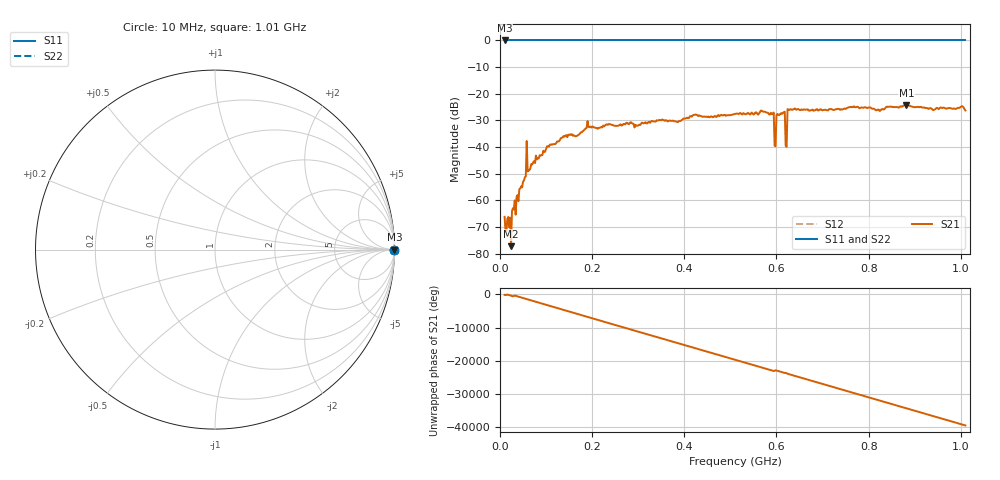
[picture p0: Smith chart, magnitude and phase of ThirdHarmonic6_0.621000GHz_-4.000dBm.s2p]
! 8/15/2025 8:24:46 PM
! C:\ANRITSUVNA\TEMP\TEMP.S2P
! CHANNEL.1
! TR.MEASUREMENT
! RAW.DATA
! RF.CORRECTION.OFF
! AVERAGING.OFF
! IF.BANDWIDTH: 5KHZ
! SWEEPTYPE:  FREQ.SWEEP(Linear)
! Reference Plane Port Info
! PORT:  PORT1  PORT2
! DISTANCE:  0  m  0  m
! TIME:  0  s  0  s
! PHASE.OFFSET:  0  deg.  0  deg.
! LOSS:  0  dB  0  dB
! REF.LOSS:  0  dB  0  dB
! REF.FREQ:  0  Hz  0  Hz
! Power Info
! POWER:  -20  dBm  -20  dBm
! EFF.POWER:  -20  dBm  -20  dBm
! SOURCE.ATTEN:  0  dB  0  dB
! TEST.ATTEN:  0  dB  0  dB
# GHZ S RI R 50.0
! FREQ.GHZ  S11RE  S11IM  S21RE  S21IM  S12RE  S12IM  S22RE  S22IM
!; PortSelection: Port_12
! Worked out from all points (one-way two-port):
!   501 points, 10 MHz to 1.01 GHz, reference 50 ohm
!   highest |S21| = -24.31 dB at 882 MHz (marker M1); lowest = -77.2 dB at 24 MHz (marker M2)
!   lowest |S11| = 0.0 dB at 10 MHz (marker M3)
!   |S11| at or under -10 dB: nowhere
!   |S22| runs from 0.0 to 0.0 dB; largest |S21 - S12| = 1.1
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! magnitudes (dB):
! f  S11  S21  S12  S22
! 10 MHz  0.0  -66.2  0.0  0.0
! 24 MHz  0.0  -77.2  0.0  0.0
! 52 MHz  0.0  -52.6  0.0  0.0
! 54 MHz  0.0  -51.3  0.0  0.0
! 62 MHz  0.0  -48.9  0.0  0.0
! 64 MHz  0.0  -48.6  0.0  0.0
! 136 MHz  0.0  -36.4  0.0  0.0
! 178 MHz  0.0  -34.4  0.0  0.0
! 344 MHz  0.0  -30.0  0.0  0.0
! 510 MHz  0.0  -27.6  0.0  0.0
! 590 MHz  0.0  -27.7  0.0  0.0
! 594 MHz  0.0  -27.0  0.0  0.0
! 600 MHz  0.0  -28.0  0.0  0.0
! 604 MHz  0.0  -27.9  0.0  0.0
! 614 MHz  0.0  -27.2  0.0  0.0
! 618 MHz  0.0  -26.8  0.0  0.0
! 624 MHz  0.0  -25.8  0.0  0.0
! 628 MHz  0.0  -26.1  0.0  0.0
! 678 MHz  0.0  -25.9  0.0  0.0
! 844 MHz  0.0  -24.9  0.0  0.0
! 882 MHz  0.0  -24.3  0.0  0.0
! 1.01 GHz  0.0  -26.3  0.0  0.0
